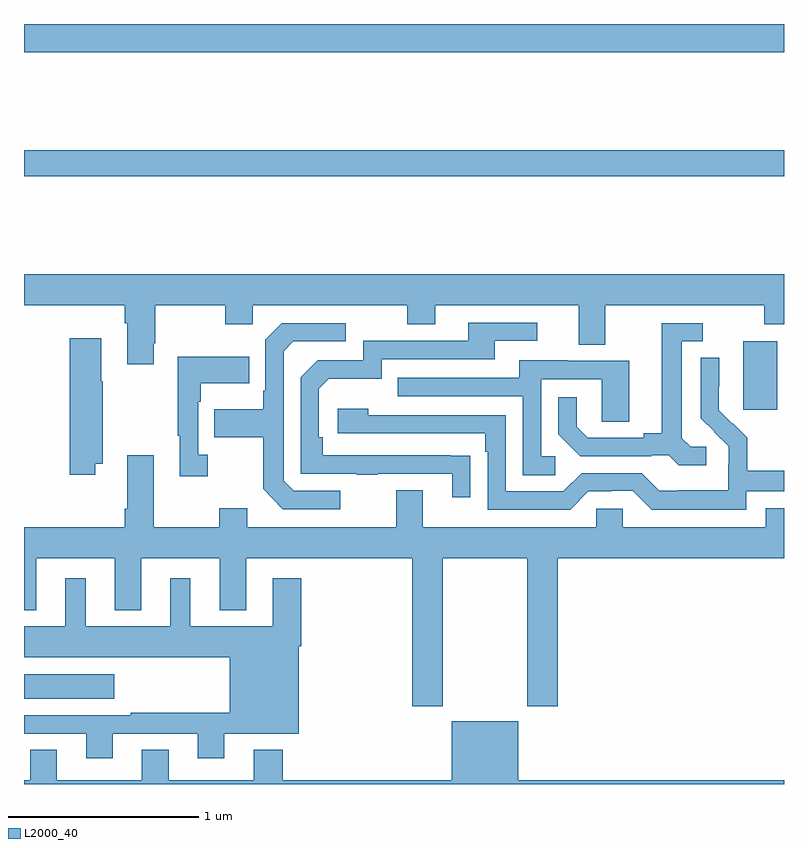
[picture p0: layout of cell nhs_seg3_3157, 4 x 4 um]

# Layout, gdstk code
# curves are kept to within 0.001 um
import gdstk
lib = gdstk.Library(unit=1e-6, precision=1e-09)
def R(c, l, rs):  # rectangles x0, y0, x1, y1
    for r in rs: c.add(gdstk.rectangle(r[:2], r[2:], *l))
def P(c, l, *ps):  # polygons
    for p in ps: c.add(gdstk.Polygon(p, *l))
L2000_40 = (2000, 40)

nhs_seg3_3157 = lib.new_cell('nhs_seg3_3157')
R(nhs_seg3_3157, L2000_40, [(275,694.85,275.476,694.978), (278.786,696.369,278.965,696.73), (275,697.6,279,697.736), (275,698.252,279,698.4)])
P(nhs_seg3_3157, L2000_40, [(275.683,696.721),(275.691,696.721),(275.691,696.92),(276.058,696.92),(276.058,696.821),(276.204,696.821),(276.204,696.92),(277.018,696.92),(277.018,696.821),(277.165,696.821),(277.165,696.92),(277.919,696.92),(277.919,696.712),(278.059,696.712),(278.059,696.92),(278.896,696.92),(278.896,696.821),(279,696.821),(279,697.084),(275,697.084),(275,696.92),(275.531,696.92),(275.531,696.824),(275.543,696.824),(275.543,696.609),(275.683,696.609)],
  [(277.349,696.128),(276.572,696.129),(276.572,696.226),(276.552,696.226),(276.552,696.48),(276.605,696.533),(276.882,696.533),(276.882,696.636),(277.477,696.636),(277.477,696.732),(277.702,696.732),(277.702,696.828),(277.337,696.828),(277.337,696.732),(276.786,696.732),(276.786,696.63),(276.546,696.63),(276.456,696.54),(276.456,696.033),(276.751,696.033),(276.751,696.028),(276.863,696.028),(276.863,696.033),(277.253,696.033),(277.253,695.91),(277.349,695.91)],
  [(278.59,696.174),(278.508,696.174),(278.461,696.221),(278.461,696.729),(278.572,696.729),(278.572,696.825),(278.357,696.825),(278.357,696.245),(278.261,696.245),(278.261,696.222),(277.966,696.222),(277.909,696.279),(277.909,696.436),(277.812,696.436),(277.812,696.242),(277.928,696.126),(278.3,696.126),(278.3,696.129),(278.394,696.129),(278.446,696.077),(278.59,696.077)],
  [(276.664,695.943),(276.42,695.943),(276.366,695.997),(276.366,696.678),(276.417,696.729),(276.694,696.729),(276.694,696.825),(276.357,696.825),(276.27,696.738),(276.27,696.469),(276.258,696.469),(276.258,696.373),(276.001,696.373),(276.001,696.226),(276.258,696.226),(276.258,695.953),(276.363,695.847),(276.664,695.847)],
  [(275.374,696.086),(275.415,696.086),(275.415,696.521),(275.407,696.521),(275.407,696.745),(275.24,696.745),(275.24,696.027),(275.374,696.027)],
  [(275.968,696.134),(275.916,696.134),(275.916,696.413),(275.929,696.413),(275.929,696.509),(276.185,696.509),(276.185,696.649),(275.808,696.649),(275.808,696.233),(275.819,696.233),(275.819,696.021),(275.968,696.021)],
  [(278.802,695.94),(279,695.94),(279,696.049),(278.807,696.049),(278.807,696.223),(278.73,696.3),(278.727,696.297),(278.657,696.368),(278.658,696.644),(278.562,696.644),(278.562,696.326),(278.708,696.178),(278.708,696.081),(278.706,696.081),(278.706,695.947),(278.443,695.947),(278.443,695.943),(278.343,695.943),(278.25,696.036),(277.935,696.036),(277.839,695.94),(277.536,695.94),(277.536,696.342),(276.812,696.342),(276.812,696.376),(276.651,696.376),(276.651,696.246),(277.427,696.246),(277.427,696.149),(277.44,696.149),(277.44,695.844),(277.875,695.844),(277.971,695.94),(278.09,695.94),(278.09,695.943),(278.205,695.943),(278.305,695.843),(278.802,695.843)],
  [(277.795,696.126),(277.722,696.126),(277.722,696.531),(278.04,696.531),(278.04,696.307),(278.185,696.307),(278.185,696.627),(277.861,696.627),(277.861,696.631),(277.607,696.631),(277.607,696.537),(276.967,696.537),(276.967,696.441),(277.626,696.441),(277.626,696.025),(277.795,696.025)],
  [(277.203,695.588),(277.648,695.588),(277.648,694.809),(277.808,694.809),(277.808,695.588),(279,695.588),(279,695.851),(278.903,695.851),(278.903,695.752),(278.151,695.752),(278.151,695.85),(278.013,695.85),(278.013,695.752),(277.099,695.752),(277.099,695.947),(276.959,695.947),(276.959,695.752),(276.175,695.752),(276.175,695.851),(276.028,695.851),(276.028,695.752),(275.683,695.752),(275.683,696.13),(275.543,696.13),(275.543,695.848),(275.531,695.848),(275.531,695.752),(275,695.752),(275,695.315),(275.065,695.315),(275.065,695.588),(275.477,695.588),(275.477,695.315),(275.617,695.315),(275.617,695.588),(276.029,695.588),(276.029,695.315),(276.169,695.315),(276.169,695.588),(277.043,695.588),(277.043,694.809),(277.203,694.809)],
  [(275.467,694.665),(275.915,694.665),(275.915,694.536),(276.055,694.536),(276.055,694.664),(276.445,694.664),(276.445,695.126),(276.458,695.126),(276.458,695.482),(276.308,695.482),(276.308,695.23),(275.875,695.23),(275.875,695.482),(275.771,695.482),(275.771,695.23),(275.326,695.23),(275.326,695.482),(275.216,695.482),(275.216,695.23),(275,695.23),(275,695.066),(276.083,695.066),(276.083,694.774),(275.563,694.774),(275.563,694.761),(275,694.761),(275,694.665),(275.327,694.665),(275.327,694.536),(275.467,694.536)],
  [(279,694.42),(277.6,694.42),(277.6,694.729),(277.25,694.729),(277.25,694.42),(276.362,694.42),(276.362,694.579),(276.209,694.579),(276.209,694.42),(275.761,694.42),(275.761,694.58),(275.621,694.58),(275.621,694.42),(275.173,694.42),(275.173,694.58),(275.033,694.58),(275.033,694.42),(275,694.42),(275,694.4),(279,694.4)])

lib.write_gds('nhs_seg3_3157.gds')
